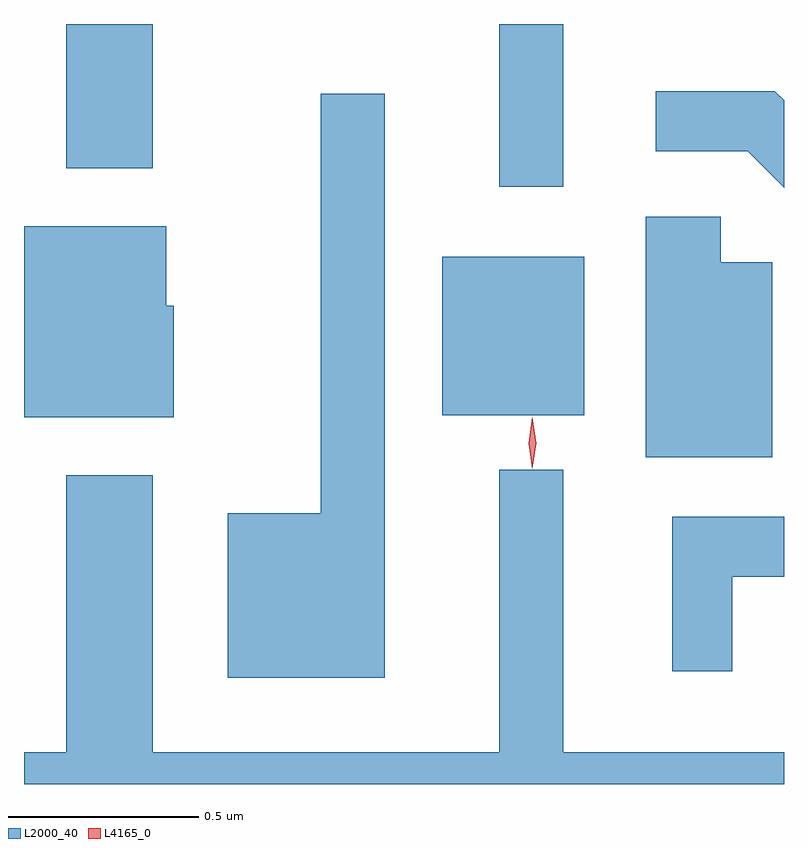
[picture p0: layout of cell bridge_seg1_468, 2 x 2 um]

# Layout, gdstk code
import gdstk
lib = gdstk.Library(unit=1e-6, precision=1e-09)
def R(c, l, rs):  # rectangles x0, y0, x1, y1
    for r in rs: c.add(gdstk.rectangle(r[:2], r[2:], *l))
def P(c, l, *ps):  # polygons
    for p in ps: c.add(gdstk.Polygon(p, *l))
L2000_40 = (2000, 40)
L4165_0 = (4165, 0)

bridge_seg1_468 = lib.new_cell('bridge_seg1_468')
R(bridge_seg1_468, L2000_40, [(257.671,854.111,258.044,854.529), (257.821,854.713,257.989,855.141), (256.681,854.761,256.909,855.141)])
P(bridge_seg1_468, L2000_40, [(258.57,854.94),(258.546,854.964),(258.233,854.964),(258.233,854.806),(258.474,854.806),(258.57,854.71)],
  [(257.519,854.958),(257.351,854.958),(257.351,853.854),(257.106,853.854),(257.106,853.421),(257.519,853.421)],
  [(258.539,854.514),(258.404,854.514),(258.404,854.634),(258.206,854.634),(258.206,854.001),(258.539,854.001)],
  [(256.964,854.399),(256.944,854.399),(256.944,854.609),(256.57,854.609),(256.57,854.106),(256.964,854.106)],
  [(258.57,853.224),(257.989,853.224),(257.989,853.968),(257.821,853.968),(257.821,853.224),(256.909,853.224),(256.909,853.954),(256.681,853.954),(256.681,853.224),(256.57,853.224),(256.57,853.141),(258.57,853.141)],
  [(258.434,853.686),(258.57,853.686),(258.57,853.844),(258.276,853.844),(258.276,853.438),(258.434,853.438)])
P(bridge_seg1_468, L4165_0, [(257.907,853.973),(257.898,854.037),(257.907,854.101),(257.908,854.102),(257.908,854.101),(257.918,854.037),(257.908,853.973),(257.908,853.973)],
  [(257.907,853.97),(257.898,854.038),(257.907,854.106),(257.908,854.106),(257.908,854.106),(257.918,854.038),(257.908,853.97),(257.908,853.97)])

lib.write_gds('bridge_seg1_468.gds')
